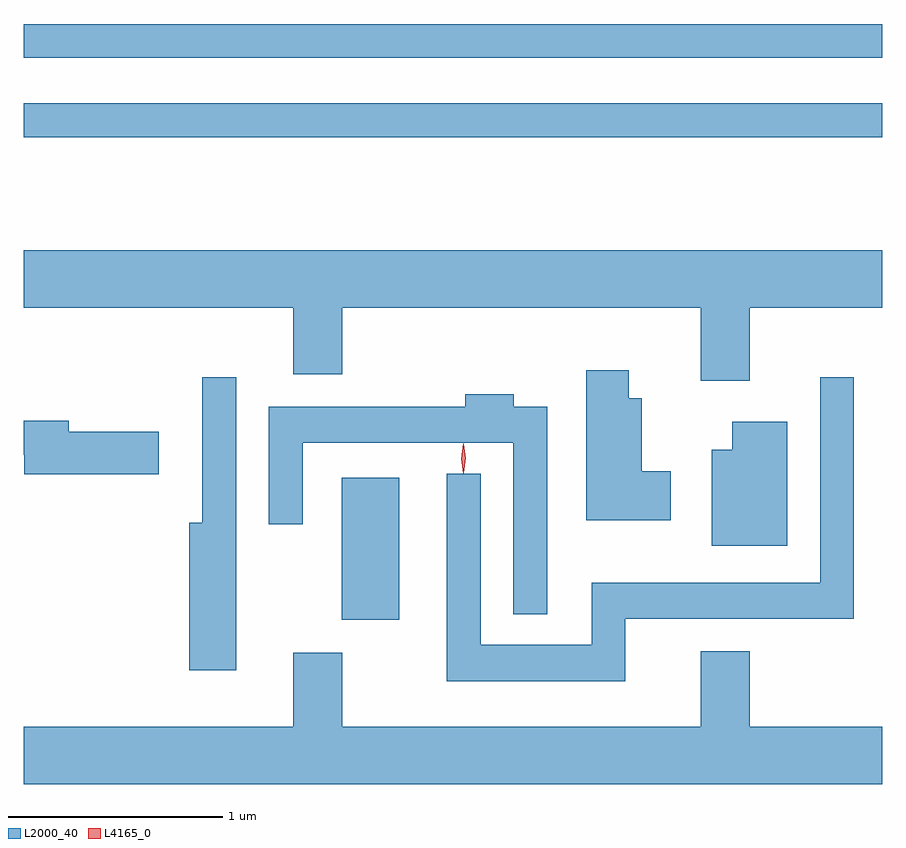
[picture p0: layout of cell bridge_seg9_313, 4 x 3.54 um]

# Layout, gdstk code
import gdstk
lib = gdstk.Library(unit=1e-6, precision=1e-09)
def R(c, l, rs):  # rectangles x0, y0, x1, y1
    for r in rs: c.add(gdstk.rectangle(r[:2], r[2:], *l))
def P(c, l, *ps):  # polygons
    for p in ps: c.add(gdstk.Polygon(p, *l))
L2000_40 = (2000, 40)
L4165_0 = (4165, 0)

bridge_seg9_313 = lib.new_cell('bridge_seg9_313')
R(bridge_seg9_313, L2000_40, [(980.426,2074.721,980.694,2075.384), (978.945,2076.971,982.945,2077.129), (978.945,2077.341,982.945,2077.499)])
P(bridge_seg9_313, L2000_40, [(982.329,2076.176),(982.945,2076.176),(982.945,2076.444),(978.945,2076.444),(978.945,2076.176),(980.201,2076.176),(980.201,2075.866),(980.429,2075.866),(980.429,2076.176),(982.101,2076.176),(982.101,2075.836),(982.329,2075.836)],
  [(981.959,2075.414),(981.824,2075.414),(981.824,2075.754),(981.764,2075.754),(981.764,2075.884),(981.566,2075.884),(981.566,2075.186),(981.959,2075.186)],
  [(981.749,2074.726),(982.814,2074.726),(982.814,2075.853),(982.656,2075.853),(982.656,2074.894),(981.591,2074.894),(981.591,2074.604),(981.074,2074.604),(981.074,2075.403),(980.916,2075.403),(980.916,2074.436),(981.749,2074.436)],
  [(979.934,2075.853),(979.776,2075.853),(979.776,2075.174),(979.716,2075.174),(979.716,2074.486),(979.934,2074.486)],
  [(981.384,2075.714),(981.229,2075.714),(981.229,2075.774),(981.001,2075.774),(981.001,2075.714),(980.086,2075.714),(980.086,2075.168),(980.244,2075.168),(980.244,2075.546),(981.226,2075.546),(981.226,2074.748),(981.384,2074.748)],
  [(979.574,2075.599),(979.154,2075.599),(979.154,2075.649),(978.945,2075.649),(978.945,2075.491),(978.946,2075.491),(978.946,2075.401),(979.574,2075.401)],
  [(982.504,2075.644),(982.246,2075.644),(982.246,2075.514),(982.151,2075.514),(982.151,2075.066),(982.504,2075.066)],
  [(982.945,2074.224),(982.329,2074.224),(982.329,2074.574),(982.101,2074.574),(982.101,2074.224),(980.429,2074.224),(980.429,2074.569),(980.201,2074.569),(980.201,2074.224),(978.945,2074.224),(978.945,2073.956),(982.945,2073.956)])
P(bridge_seg9_313, L4165_0, [(980.993,2075.403),(980.993,2075.404),(980.983,2075.473),(980.993,2075.542),(980.993,2075.543),(980.994,2075.542),(981.003,2075.473),(980.994,2075.404)],
  [(980.995,2075.407),(980.995,2075.408),(980.985,2075.474),(980.995,2075.54),(980.995,2075.54),(980.996,2075.54),(981.005,2075.474),(980.996,2075.408)])

lib.write_gds('bridge_seg9_313.gds')
